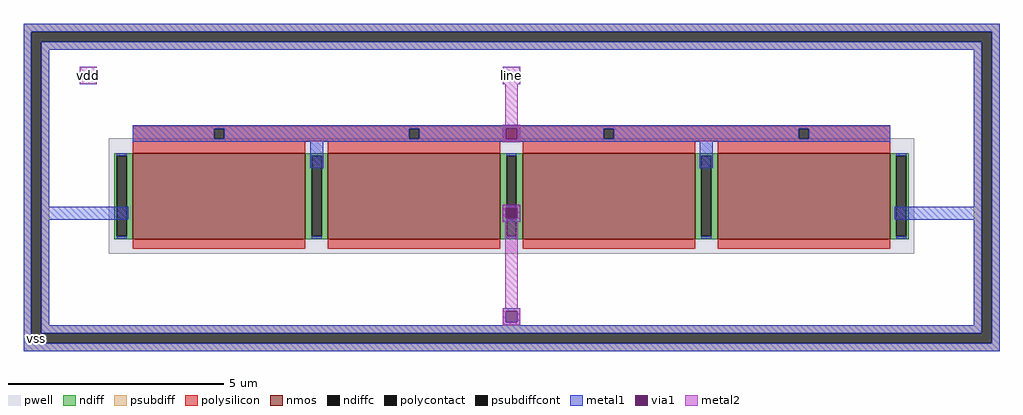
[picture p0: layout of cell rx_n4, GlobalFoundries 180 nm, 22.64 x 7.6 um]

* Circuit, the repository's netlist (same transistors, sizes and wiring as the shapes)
* NGSPICE file created from rx_n4.ext - technology: gf180mcuD

.subckt n_w2_l4_f4 a_n52_n200# a_852_n200# a_n852_n244# a_n956_n200# a_52_n244# a_n1756_n244#
+ a_1756_n200# a_n1844_n200# a_956_n244# VSUBS
X0 a_852_n200# a_52_n244# a_n52_n200# VSUBS nfet_03v3 ad=0.52p pd=2.52u as=0.52p ps=2.52u w=2u l=4u
X1 a_1756_n200# a_956_n244# a_852_n200# VSUBS nfet_03v3 ad=0.88p pd=4.88u as=0.52p ps=2.52u w=2u l=4u
X2 a_n956_n200# a_n1756_n244# a_n1844_n200# VSUBS nfet_03v3 ad=0.52p pd=2.52u as=0.88p ps=4.88u w=2u l=4u
X3 a_n52_n200# a_n852_n244# a_n956_n200# VSUBS nfet_03v3 ad=0.52p pd=2.52u as=0.52p ps=2.52u w=2u l=4u
.ends

.subckt rx_n4 line vdd vss
XD vss line line line line line vss vss line vss n_w2_l4_f4
.ends

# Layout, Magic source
magic
tech gf180mcuD
magscale 1 10
<< psubdiff >>
rect 0 1483 4528 1520
rect 0 37 37 1483
rect 83 1400 4445 1437
rect 83 120 120 1400
rect 4408 120 4445 1400
rect 83 83 4445 120
rect 4491 37 4528 1483
rect 0 0 4528 37
<< psubdiffcont >>
rect 37 1437 4491 1483
rect 37 83 83 1437
rect 4445 83 4491 1437
rect 37 37 4491 83
<< polysilicon >>
rect 508 1033 4020 1046
rect 508 987 885 1033
rect 931 987 1789 1033
rect 1835 987 2693 1033
rect 2739 987 3597 1033
rect 3643 987 4020 1033
rect 508 974 4020 987
rect 508 920 1308 974
rect 1412 920 2212 974
rect 2316 920 3116 974
rect 3220 920 4020 974
<< polycontact >>
rect 885 987 931 1033
rect 1789 987 1835 1033
rect 2693 987 2739 1033
rect 3597 987 3643 1033
<< metal1 >>
rect 0 1483 4528 1520
rect 0 37 37 1483
rect 83 1400 4445 1437
rect 83 670 120 1400
rect 2224 1048 2304 1050
rect 508 1036 4020 1048
rect 508 1033 2238 1036
rect 508 987 885 1033
rect 931 987 1789 1033
rect 1835 987 2238 1033
rect 508 984 2238 987
rect 2290 1033 4020 1036
rect 2290 987 2693 1033
rect 2739 987 3597 1033
rect 3643 987 4020 1033
rect 2290 984 4020 987
rect 508 972 4020 984
rect 1330 850 1390 972
rect 2224 970 2304 972
rect 3138 850 3198 972
rect 83 610 486 670
rect 2224 666 2304 680
rect 4408 670 4445 1400
rect 2224 614 2238 666
rect 2290 614 2304 666
rect 83 120 120 610
rect 2224 600 2304 614
rect 4042 610 4445 670
rect 2224 186 2304 200
rect 2224 134 2238 186
rect 2290 134 2304 186
rect 2224 120 2304 134
rect 4408 120 4445 610
rect 83 83 4445 120
rect 4491 37 4528 1483
rect 0 0 4528 37
<< via1 >>
rect 2238 984 2290 1036
rect 2238 614 2290 666
rect 2238 134 2290 186
<< metal2 >>
rect 260 1240 340 1320
rect 2224 1240 2304 1320
rect 2234 1050 2294 1240
rect 2224 1036 2304 1050
rect 2224 984 2238 1036
rect 2290 984 2304 1036
rect 2224 970 2304 984
rect 2224 666 2304 680
rect 2224 614 2238 666
rect 2290 614 2304 666
rect 2224 600 2304 614
rect 2234 200 2294 600
rect 2224 186 2304 200
rect 2224 134 2238 186
rect 2290 134 2304 186
rect 2224 120 2304 134
use n_w2_l4_f4  D devices
transform 1 0 2264 0 1 720
box -1868 -268 1868 268
<< labels >>
flabel metal2 2224 1240 2304 1320 0 FreeSans 400 0 0 0 line
port 1 nsew signal bidirectional
flabel metal2 260 1240 340 1320 0 FreeSans 400 0 0 0 vdd
port 2 nsew power bidirectional
flabel metal1 20 20 100 100 0 FreeSans 400 0 0 0 vss
port 3 nsew ground bidirectional
<< end >>

# cell n_w2_l4_f4: kit device nfet_03v3, w 2 l 4 m 1 nf 4 diffcov 100 polycov 100 guard 0 glc 1 grc 1 gtc 0 gbc 0 tbcov 100 rlcov 100 topc 0 botc 0 poverlap 0 doverlap 1 lmin 0.28 wmin 0.22 class mosfet full_metal 1 compatible {nfet_03v3 nfet_05v0 nfet_06v0 nfet_06v0_nvt}
